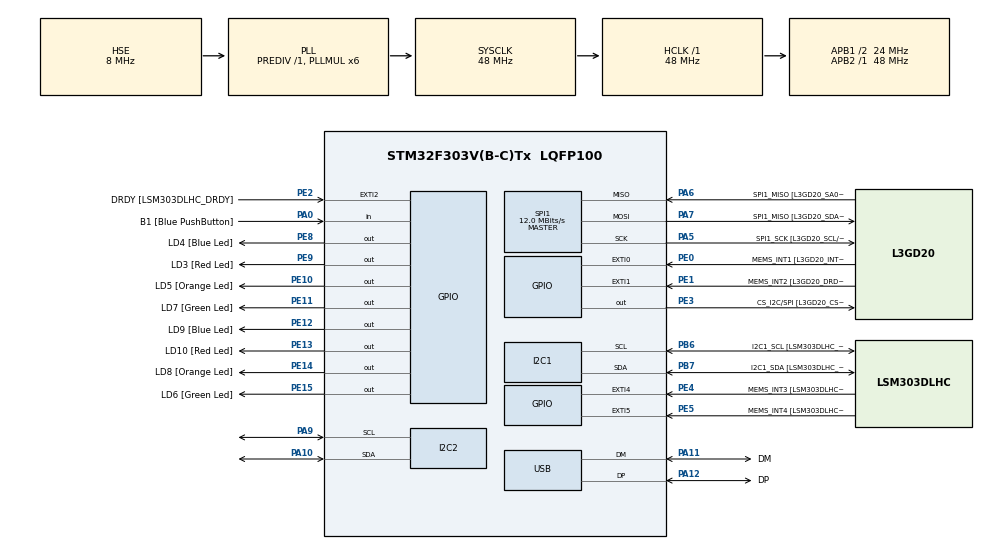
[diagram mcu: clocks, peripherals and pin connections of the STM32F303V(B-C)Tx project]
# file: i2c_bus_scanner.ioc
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I2C1.Timing=0x2000090E
I2C1.Timing-I2C=0x2000090E
Mcu.Family=STM32F3
Mcu.Name=STM32F303V(B-C)Tx
Mcu.Package=LQFP100
NVIC.PriorityGroup=NVIC_PRIORITYGROUP_0
PA0.GPIO_Label=B1 [Blue PushButton]
PA0.Signal=GPIO_Input
PA10.GPIO_PuPdOD=GPIO_NOPULL
PA10.Mode=I2C
PA10.Signal=I2C2_SDA
PA11.GPIO_Label=DM
PA11.Mode=Device
PA11.Signal=USB_DM
PA12.GPIO_Label=DP
PA12.Mode=Device
PA12.Signal=USB_DP
PA13.GPIO_Label=SWDIO
PA13.Mode=Serial_Wire
PA13.Signal=SYS_JTMS-SWDIO
PA14.GPIO_Label=SWCLK
PA14.Mode=Serial_Wire
PA14.Signal=SYS_JTCK-SWCLK
PA5.GPIO_Label=SPI1_SCK [L3GD20_SCL/SPC]
PA5.Mode=Full_Duplex_Master
PA5.Signal=SPI1_SCK
PA6.GPIO_Label=SPI1_MISO [L3GD20_SA0/SDO]
PA6.Mode=Full_Duplex_Master
PA6.Signal=SPI1_MISO
PA7.GPIO_Label=SPI1_MISO [L3GD20_SDA/SDI/SDO]
PA7.Mode=Full_Duplex_Master
PA7.Signal=SPI1_MOSI
PA9.GPIO_PuPdOD=GPIO_NOPULL
PA9.Mode=I2C
PA9.Signal=I2C2_SCL
PB3.GPIO_Label=SWO
PB3.Signal=SYS_JTDO-TRACESWO
PB6.GPIO_Label=I2C1_SCL [LSM303DLHC_SCL]
PB6.Mode=I2C
PB6.Signal=I2C1_SCL
PB7.GPIO_Label=I2C1_SDA [LSM303DLHC_SDA]
PB7.Mode=I2C
PB7.Signal=I2C1_SDA
PC14-OSC32_IN.GPIO_Label=OSC32_IN
PC14-OSC32_IN.Signal=RCC_OSC32_IN
PC15-OSC32_OUT.GPIO_Label=OSC32_OUT
PC15-OSC32_OUT.Signal=RCC_OSC32_OUT
PE0.GPIO_Label=MEMS_INT1 [L3GD20_INT1]
PE0.GPIO_ModeDefaultEXTI=GPIO_MODE_EVT_RISING
PE0.Signal=GPXTI0
PE1.GPIO_Label=MEMS_INT2 [L3GD20_DRDY/INT2]
PE1.GPIO_ModeDefaultEXTI=GPIO_MODE_EVT_RISING
PE1.Signal=GPXTI1
PE10.GPIO_Label=LD5 [Orange Led]
PE10.Signal=GPIO_Output
PE11.GPIO_Label=LD7 [Green Led]
PE11.Signal=GPIO_Output
PE12.GPIO_Label=LD9 [Blue Led]
PE12.Signal=GPIO_Output
PE13.GPIO_Label=LD10 [Red Led]
PE13.Signal=GPIO_Output
PE14.GPIO_Label=LD8 [Orange Led]
PE14.Signal=GPIO_Output
PE15.GPIO_Label=LD6 [Green Led]
PE15.Signal=GPIO_Output
PE2.GPIO_Label=DRDY [LSM303DLHC_DRDY]
PE2.GPIO_ModeDefaultEXTI=GPIO_MODE_EVT_RISING
PE2.Signal=GPXTI2
PE3.GPIO_Label=CS_I2C/SPI [L3GD20_CS_I2C/SPI]
PE3.Signal=GPIO_Output
PE4.GPIO_Label=MEMS_INT3 [LSM303DLHC_INT1]
PE4.GPIO_ModeDefaultEXTI=GPIO_MODE_EVT_RISING
PE4.Signal=GPXTI4
PE5.GPIO_Label=MEMS_INT4 [LSM303DLHC_INT2]
PE5.GPIO_ModeDefaultEXTI=GPIO_MODE_EVT_RISING
PE5.Signal=GPXTI5
PE8.GPIO_Label=LD4 [Blue Led]
PE8.Signal=GPIO_Output
PE9.GPIO_Label=LD3 [Red Led]
PE9.Signal=GPIO_Output
PF0-OSC_IN.GPIO_Label=OSC_IN
PF0-OSC_IN.Mode=HSE-External-Clock-Source
PF0-OSC_IN.Signal=RCC_OSC_IN
PF1-OSC_OUT.GPIO_Label=OSC_OUT
PF1-OSC_OUT.Signal=RCC_OSC_OUT
ProjectManager.HeapSize=0x200
ProjectManager.StackSize=0x400
ProjectManager.TargetToolchain=SW4STM32
RCC.AHBFreq_Value=48000000
RCC.APB1CLKDivider=RCC_HCLK_DIV2
RCC.APB1Freq_Value=24000000
RCC.APB1TimFreq_Value=48000000
RCC.APB2Freq_Value=48000000
RCC.APB2TimFreq_Value=48000000
RCC.CortexFreq_Value=48000000
RCC.HCLKFreq_Value=48000000
RCC.HSE_VALUE=8000000
RCC.HSI_VALUE=8000000
RCC.LSE_VALUE=32768
RCC.PLLMUL=RCC_PLL_MUL6
RCC.SYSCLKFreq_VALUE=48000000
RCC.SYSCLKSourceVirtual=RCC_SYSCLKSOURCE_PLLCLK
RCC.USBFreq_Value=48000000
SPI1.BaudRatePrescaler=SPI_BAUDRATEPRESCALER_4
SPI1.BaudRatePrescaler-Full_Duplex_Master=SPI_BAUDRATEPRESCALER_2
SPI1.CalculateBaudRate=12.0 MBits/s
SPI1.CalculateBaudRate-Full_Duplex_Master=24.0 MBits/s
SPI1.Direction=SPI_DIRECTION_2LINES
SPI1.Mode=SPI_MODE_MASTER
SPI1.Mode-Full_Duplex_Master=SPI_MODE_MASTER
SPI1.VirtualType=VM_MASTER
board=STM32F3DISCOVERY

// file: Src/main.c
/**
 ******************************************************************************
 * @file           : main.c
 * @brief          : Main program body
 ******************************************************************************
 ** This notice applies to any and all portions of this file
 * that are not between comment pairs USER CODE BEGIN and
 * USER CODE END. Other portions of this file, whether
 * inserted by the user or by software development tools
 * are owned by their respective copyright owners.
 *
 * COPYRIGHT(c) 2018 STMicroelectronics
 *
 * Redistribution and use in source and binary forms, with or without modification,
 * are permitted provided that the following conditions are met:
 *   1. Redistributions of source code must retain the above copyright notice,
 *      this list of conditions and the following disclaimer.
 *   2. Redistributions in binary form must reproduce the above copyright notice,
 *      this list of conditions and the following disclaimer in the documentation
 *      and/or other materials provided with the distribution.
 *   3. Neither the name of STMicroelectronics nor the names of its contributors
 *      may be used to endorse or promote products derived from this software
 *      without specific prior written permission.
 *
 * THIS SOFTWARE IS PROVIDED BY THE COPYRIGHT HOLDERS AND CONTRIBUTORS "AS IS"
 * AND ANY EXPRESS OR IMPLIED WARRANTIES, INCLUDING, BUT NOT LIMITED TO, THE
 * IMPLIED WARRANTIES OF MERCHANTABILITY AND FITNESS FOR A PARTICULAR PURPOSE ARE
 * DISCLAIMED. IN NO EVENT SHALL THE COPYRIGHT HOLDER OR CONTRIBUTORS BE LIABLE
 * FOR ANY DIRECT, INDIRECT, INCIDENTAL, SPECIAL, EXEMPLARY, OR CONSEQUENTIAL
 * DAMAGES (INCLUDING, BUT NOT LIMITED TO, PROCUREMENT OF SUBSTITUTE GOODS OR
 * SERVICES; LOSS OF USE, DATA, OR PROFITS; OR BUSINESS INTERRUPTION) HOWEVER
 * CAUSED AND ON ANY THEORY OF LIABILITY, WHETHER IN CONTRACT, STRICT LIABILITY,
 * OR TORT (INCLUDING NEGLIGENCE OR OTHERWISE) ARISING IN ANY WAY OUT OF THE USE
 * OF THIS SOFTWARE, EVEN IF ADVISED OF THE POSSIBILITY OF SUCH DAMAGE.
 *
 ******************************************************************************
 */
#include "main.h"
#include "stm32f3xx_hal.h"

I2C_HandleTypeDef hi2c1;
I2C_HandleTypeDef hi2c2;

SPI_HandleTypeDef hspi1;

PCD_HandleTypeDef hpcd_USB_FS;

/* USER CODE BEGIN PV */
/* Private variables ---------------------------------------------------------*/

/* USER CODE END PV */

void SystemClock_Config(void);
static void MX_GPIO_Init(void);
static void MX_I2C1_Init(void);
static void MX_SPI1_Init(void);
static void MX_USB_PCD_Init(void);
static void MX_I2C2_Init(void);

/* USER CODE BEGIN PFP */
/* Private function prototypes -----------------------------------------------*/

/* USER CODE END PFP */

/* USER CODE BEGIN 0 */

extern void initialise_monitor_handles(void);

/* USER CODE END 0 */

int main(void) {

	/* MCU Configuration----------------------------------------------------------*/

	/* Reset of all peripherals, Initializes the Flash interface and the Systick. */
	HAL_Init();

	/* USER CODE BEGIN Init */

	initialise_monitor_handles();

	/* USER CODE END Init */

	/* Configure the system clock */
	SystemClock_Config();

	/* Initialize all configured peripherals */
	MX_GPIO_Init();
	MX_I2C1_Init();
	MX_SPI1_Init();
	MX_USB_PCD_Init();
	MX_I2C2_Init();
	/* USER CODE BEGIN 2 */

	printf("Scanning I2C bus:\r\n");

	printf("     ");
	for (uint16_t j = 0; j <= 0x0F; j++) {
		printf("0x%02X ", j);
	}
	printf("\r\n");

	HAL_StatusTypeDef result;
	uint16_t addr;
	for (uint16_t upper = 0; upper <= 0x70; upper += 0x10) {
		/*
		 * the HAL wants a left aligned i2c address
		 * &hi2c1 is the handle
		 * (uint16_t)(i<<1) is the i2c address left aligned
		 * retries 2
		 * timeout 2
		 */

		printf("0x%02X ", upper);
		for (uint16_t lower = 0; lower <= 0x0F; lower += 0x01) {
			addr = (upper | lower);
			result = HAL_I2C_IsDeviceReady(&hi2c2, (uint16_t)(addr << 1), 2, 2);
			if (result != HAL_OK) {
				// HAL_ERROR or HAL_BUSY or HAL_TIMEOUT
				printf("---- "); // No ACK received at that address
			}
			if (result == HAL_OK) {
				// Received an ACK at that address
				printf("0x%02X ", addr);
			}
		}
		printf("\r\n");
	}
	printf("i2c scan bus end\r\n");

	/* USER CODE END 2 */

	/* Infinite loop */
	while (1) {

	}

}

void SystemClock_Config(void) {

	RCC_OscInitTypeDef RCC_OscInitStruct;
	RCC_ClkInitTypeDef RCC_ClkInitStruct;
	RCC_PeriphCLKInitTypeDef PeriphClkInit;

	/**Initializes the CPU, AHB and APB busses clocks
	 */
	RCC_OscInitStruct.OscillatorType = RCC_OSCILLATORTYPE_HSI
			| RCC_OSCILLATORTYPE_HSE;
	RCC_OscInitStruct.HSEState = RCC_HSE_BYPASS;
	RCC_OscInitStruct.HSEPredivValue = RCC_HSE_PREDIV_DIV1;
	RCC_OscInitStruct.HSIState = RCC_HSI_ON;
	RCC_OscInitStruct.HSICalibrationValue = 16;
	RCC_OscInitStruct.PLL.PLLState = RCC_PLL_ON;
	RCC_OscInitStruct.PLL.PLLSource = RCC_PLLSOURCE_HSE;
	RCC_OscInitStruct.PLL.PLLMUL = RCC_PLL_MUL6;
	if (HAL_RCC_OscConfig(&RCC_OscInitStruct) != HAL_OK) {
		_Error_Handler(__FILE__, __LINE__);
	}

	/**Initializes the CPU, AHB and APB busses clocks
	 */
	RCC_ClkInitStruct.ClockType = RCC_CLOCKTYPE_HCLK | RCC_CLOCKTYPE_SYSCLK
			| RCC_CLOCKTYPE_PCLK1 | RCC_CLOCKTYPE_PCLK2;
	RCC_ClkInitStruct.SYSCLKSource = RCC_SYSCLKSOURCE_PLLCLK;
	RCC_ClkInitStruct.AHBCLKDivider = RCC_SYSCLK_DIV1;
	RCC_ClkInitStruct.APB1CLKDivider = RCC_HCLK_DIV2;
	RCC_ClkInitStruct.APB2CLKDivider = RCC_HCLK_DIV1;

	if (HAL_RCC_ClockConfig(&RCC_ClkInitStruct, FLASH_LATENCY_1) != HAL_OK) {
		_Error_Handler(__FILE__, __LINE__);
	}

	PeriphClkInit.PeriphClockSelection = RCC_PERIPHCLK_USB | RCC_PERIPHCLK_I2C1
			| RCC_PERIPHCLK_I2C2;
	PeriphClkInit.I2c1ClockSelection = RCC_I2C1CLKSOURCE_HSI;
	PeriphClkInit.I2c2ClockSelection = RCC_I2C2CLKSOURCE_HSI;
	PeriphClkInit.USBClockSelection = RCC_USBCLKSOURCE_PLL;
	if (HAL_RCCEx_PeriphCLKConfig(&PeriphClkInit) != HAL_OK) {
		_Error_Handler(__FILE__, __LINE__);
	}

	/**Configure the Systick interrupt time
	 */
	HAL_SYSTICK_Config(HAL_RCC_GetHCLKFreq() / 1000);

	/**Configure the Systick
	 */
	HAL_SYSTICK_CLKSourceConfig(SYSTICK_CLKSOURCE_HCLK);

	/* SysTick_IRQn interrupt configuration */
	HAL_NVIC_SetPriority(SysTick_IRQn, 0, 0);
}

/* I2C1 init function */
static void MX_I2C1_Init(void) {

	hi2c1.Instance = I2C1;
	hi2c1.Init.Timing = 0x2000090E;
	hi2c1.Init.OwnAddress1 = 0;
	hi2c1.Init.AddressingMode = I2C_ADDRESSINGMODE_7BIT;
	hi2c1.Init.DualAddressMode = I2C_DUALADDRESS_DISABLE;
	hi2c1.Init.OwnAddress2 = 0;
	hi2c1.Init.OwnAddress2Masks = I2C_OA2_NOMASK;
	hi2c1.Init.GeneralCallMode = I2C_GENERALCALL_DISABLE;
	hi2c1.Init.NoStretchMode = I2C_NOSTRETCH_DISABLE;
	if (HAL_I2C_Init(&hi2c1) != HAL_OK) {
		_Error_Handler(__FILE__, __LINE__);
	}

	/**Configure Analogue filter
	 */
	if (HAL_I2CEx_ConfigAnalogFilter(&hi2c1, I2C_ANALOGFILTER_ENABLE)
			!= HAL_OK) {
		_Error_Handler(__FILE__, __LINE__);
	}

	/**Configure Digital filter
	 */
	if (HAL_I2CEx_ConfigDigitalFilter(&hi2c1, 0) != HAL_OK) {
		_Error_Handler(__FILE__, __LINE__);
	}

}

/* I2C2 init function */
static void MX_I2C2_Init(void) {

	hi2c2.Instance = I2C2;
	hi2c2.Init.Timing = 0x2000090E;
	hi2c2.Init.OwnAddress1 = 0;
	hi2c2.Init.AddressingMode = I2C_ADDRESSINGMODE_7BIT;
	hi2c2.Init.DualAddressMode = I2C_DUALADDRESS_DISABLE;
	hi2c2.Init.OwnAddress2 = 0;
	hi2c2.Init.OwnAddress2Masks = I2C_OA2_NOMASK;
	hi2c2.Init.GeneralCallMode = I2C_GENERALCALL_DISABLE;
	hi2c2.Init.NoStretchMode = I2C_NOSTRETCH_DISABLE;
	if (HAL_I2C_Init(&hi2c2) != HAL_OK) {
		_Error_Handler(__FILE__, __LINE__);
	}

	/**Configure Analogue filter
	 */
	if (HAL_I2CEx_ConfigAnalogFilter(&hi2c2, I2C_ANALOGFILTER_ENABLE)
			!= HAL_OK) {
		_Error_Handler(__FILE__, __LINE__);
	}

	/**Configure Digital filter
	 */
	if (HAL_I2CEx_ConfigDigitalFilter(&hi2c2, 0) != HAL_OK) {
		_Error_Handler(__FILE__, __LINE__);
	}

}

/* SPI1 init function */
static void MX_SPI1_Init(void) {

	/* SPI1 parameter configuration*/
	hspi1.Instance = SPI1;
	hspi1.Init.Mode = SPI_MODE_MASTER;
	hspi1.Init.Direction = SPI_DIRECTION_2LINES;
	hspi1.Init.DataSize = SPI_DATASIZE_4BIT;
	hspi1.Init.CLKPolarity = SPI_POLARITY_LOW;
	hspi1.Init.CLKPhase = SPI_PHASE_1EDGE;
	hspi1.Init.NSS = SPI_NSS_SOFT;
	hspi1.Init.BaudRatePrescaler = SPI_BAUDRATEPRESCALER_4;
	hspi1.Init.FirstBit = SPI_FIRSTBIT_MSB;
	hspi1.Init.TIMode = SPI_TIMODE_DISABLE;
	hspi1.Init.CRCCalculation = SPI_CRCCALCULATION_DISABLE;
	hspi1.Init.CRCPolynomial = 7;
	hspi1.Init.CRCLength = SPI_CRC_LENGTH_DATASIZE;
	hspi1.Init.NSSPMode = SPI_NSS_PULSE_ENABLE;
	if (HAL_SPI_Init(&hspi1) != HAL_OK) {
		_Error_Handler(__FILE__, __LINE__);
	}

}

/* USB init function */
static void MX_USB_PCD_Init(void) {

	hpcd_USB_FS.Instance = USB;
	hpcd_USB_FS.Init.dev_endpoints = 8;
	hpcd_USB_FS.Init.speed = PCD_SPEED_FULL;
	hpcd_USB_FS.Init.ep0_mps = DEP0CTL_MPS_64;
	hpcd_USB_FS.Init.phy_itface = PCD_PHY_EMBEDDED;
	hpcd_USB_FS.Init.low_power_enable = DISABLE;
	hpcd_USB_FS.Init.battery_charging_enable = DISABLE;
	if (HAL_PCD_Init(&hpcd_USB_FS) != HAL_OK) {
		_Error_Handler(__FILE__, __LINE__);
	}

}

/** Configure pins as
 * Analog
 * Input
 * Output
 * EVENT_OUT
 * EXTI
 */
static void MX_GPIO_Init(void) {

	GPIO_InitTypeDef GPIO_InitStruct;

	/* GPIO Ports Clock Enable */
	__HAL_RCC_GPIOE_CLK_ENABLE()
	;
	__HAL_RCC_GPIOC_CLK_ENABLE()
	;
	__HAL_RCC_GPIOF_CLK_ENABLE()
	;
	__HAL_RCC_GPIOA_CLK_ENABLE()
	;
	__HAL_RCC_GPIOB_CLK_ENABLE()
	;

	/*Configure GPIO pin Output Level */
	HAL_GPIO_WritePin(GPIOE,
			CS_I2C_SPI_Pin | LD4_Pin | LD3_Pin | LD5_Pin | LD7_Pin | LD9_Pin
					| LD10_Pin | LD8_Pin | LD6_Pin, GPIO_PIN_RESET);

	/*Configure GPIO pins : DRDY_Pin MEMS_INT3_Pin MEMS_INT4_Pin MEMS_INT1_Pin
	 MEMS_INT2_Pin */
	GPIO_InitStruct.Pin = DRDY_Pin | MEMS_INT3_Pin | MEMS_INT4_Pin
			| MEMS_INT1_Pin | MEMS_INT2_Pin;
	GPIO_InitStruct.Mode = GPIO_MODE_EVT_RISING;
	GPIO_InitStruct.Pull = GPIO_NOPULL;
	HAL_GPIO_Init(GPIOE, &GPIO_InitStruct);

	/*Configure GPIO pins : CS_I2C_SPI_Pin LD4_Pin LD3_Pin LD5_Pin
	 LD7_Pin LD9_Pin LD10_Pin LD8_Pin
	 LD6_Pin */
	GPIO_InitStruct.Pin = CS_I2C_SPI_Pin | LD4_Pin | LD3_Pin | LD5_Pin | LD7_Pin
			| LD9_Pin | LD10_Pin | LD8_Pin | LD6_Pin;
	GPIO_InitStruct.Mode = GPIO_MODE_OUTPUT_PP;
	GPIO_InitStruct.Pull = GPIO_NOPULL;
	GPIO_InitStruct.Speed = GPIO_SPEED_FREQ_LOW;
	HAL_GPIO_Init(GPIOE, &GPIO_InitStruct);

	/*Configure GPIO pin : B1_Pin */
	GPIO_InitStruct.Pin = B1_Pin;
	GPIO_InitStruct.Mode = GPIO_MODE_INPUT;
	GPIO_InitStruct.Pull = GPIO_NOPULL;
	HAL_GPIO_Init(B1_GPIO_Port, &GPIO_InitStruct);

}

void _Error_Handler(char *file, int line) {
	while (1) {
	}
}

/************************ (C) COPYRIGHT STMicroelectronics *****END OF FILE****/
